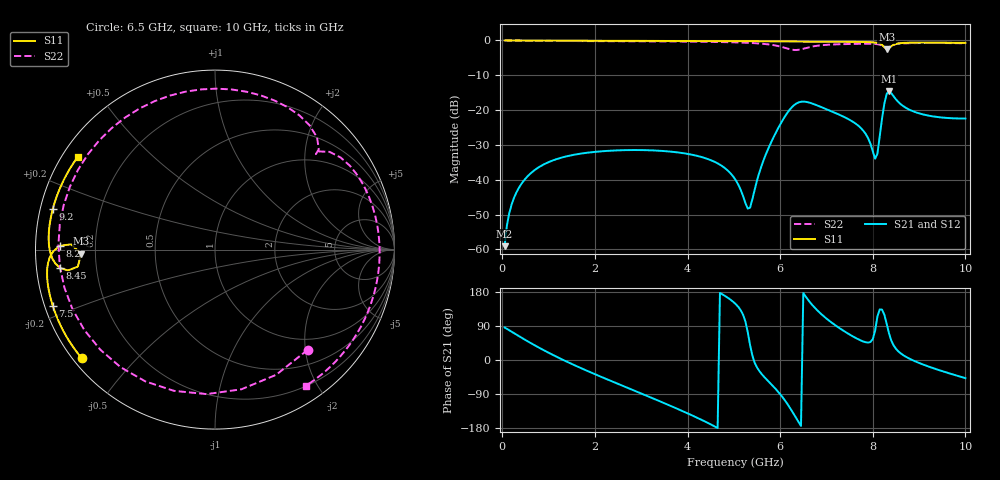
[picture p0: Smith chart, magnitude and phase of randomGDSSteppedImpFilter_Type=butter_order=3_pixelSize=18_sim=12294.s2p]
! freq	dB(S11)	phase(S11)	dB(S12)	phase(S12)
!  dB(S21)	phase(S21)	dB(S22)	phase(S22)
!S-par simulation data
#  GHz  S  DB  R 50
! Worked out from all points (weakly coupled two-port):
!   200 points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, 50 MHz to 10 GHz, reference 50 ohm
!   highest |S21| = -14.59 dB at 8.35 GHz (marker M1); lowest = -59.1 dB at 50 MHz (marker M2)
!   lowest |S11| = -2.5 dB at 8.3 GHz (marker M3), VSWR 6.89, Z = 7.26 - j0.748 ohm
!   |S11| at or under -10 dB: nowhere
!   |S22| runs from -2.7 to 0.0 dB; largest |S21 - S12| = 0
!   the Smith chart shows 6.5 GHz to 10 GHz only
!   S11 on the Smith chart (normalised r, x): 6.5 GHz: 0.02, -0.36; 7.5 GHz: 0.02, -0.17; 8.2 GHz: 0.07, +0.01; 8.45 GHz: 0.07, -0.06; 9.2 GHz: 0.04, +0.12; 10 GHz: 0.04, +0.31
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0.05  -0.00 -1.2  -59.09 85.8  -59.09 85.8  -0.00 -6.4
0.8  -0.03 -19.2  -36.32 32.1  -36.32 32.1  -0.12 -96.6
1.75  -0.06 -41.5  -32.40 -24.2  -32.40 -24.2  -0.18 171.0
2.6  -0.08 -60.7  -31.52 -68.1  -31.52 -68.1  -0.22 100.0
3.4  -0.11 -78.1  -31.69 -108.8  -31.69 -108.8  -0.27 36.0
4.15  -0.13 -93.8  -32.97 -149.1  -32.97 -149.1  -0.35 -23.3
5.05  -0.17 -112.1  -40.32 146.4  -40.32 146.4  -0.56 -98.4
5.35  -0.19 -118.1  -48.04 39.7  -48.04 39.7  -0.71 -128.1
5.7  -0.21 -125.1  -32.43 -50.4  -32.43 -50.4  -1.05 -172.1
6.1  -0.27 -133.2  -21.90 -106.1  -21.90 -106.1  -2.11 102.8
6.35  -0.35 -138.0  -18.11 -154.1  -18.11 -154.1  -2.74 10.4
6.5  -0.37 -140.7  -17.57 176.5  -17.57 176.5  -2.38 -47.2
6.7  -0.37 -144.5  -18.15 144.3  -18.15 144.3  -1.73 -106.1
7.05  -0.37 -151.5  -20.03 104.4  -20.03 104.4  -1.22 -173.9
7.5  -0.39 -161.0  -22.79 67.2  -22.79 67.2  -1.01 124.1
8.05  -0.60 -175.3  -33.95 77.1  -33.95 77.1  -1.01 63.1
8.2  -1.26 178.6  -22.45 132.9  -22.45 132.9  -1.46 47.7
8.3  -2.54 -178.2  -15.34 95.7  -15.34 95.7  -2.23 43.4
8.35  -2.27 -172.9  -14.59 70.4  -14.59 70.4  -1.97 43.4
8.45  -1.22 -173.2  -16.06 38.5  -16.06 38.5  -1.23 36.2
9.2  -0.62 165.9  -21.58 -17.1  -21.58 -17.1  -0.73 -16.7
10  -0.70 145.9  -22.43 -47.9  -22.43 -47.9  -0.80 -56.4
